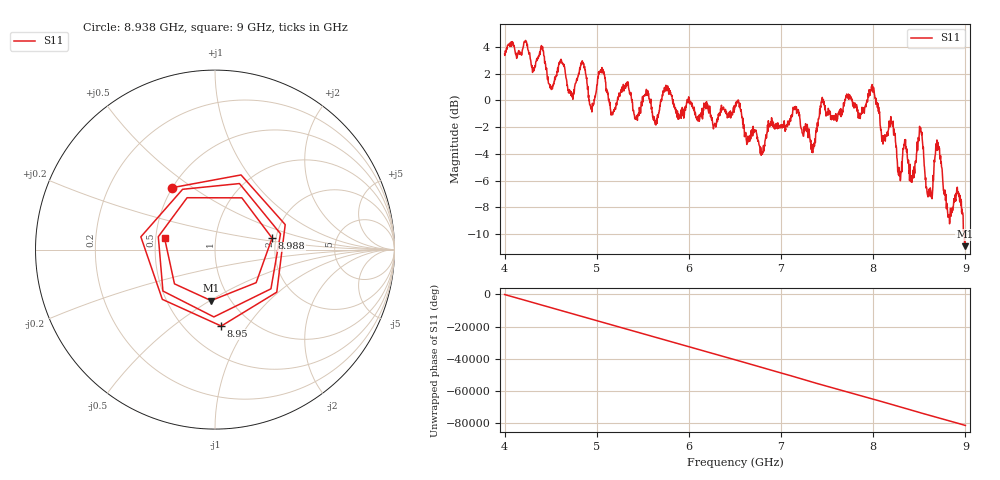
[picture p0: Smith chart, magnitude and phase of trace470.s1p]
! Created with skrf 1.8.0 (http://scikit-rf.org).
# Hz S RI R 50.0
!freq ReS11 ImS11
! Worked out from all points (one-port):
!   1601 points, 4 GHz to 9 GHz, reference 50 ohm
!   lowest |S11| = -10.9 dB at 8.994 GHz (marker M1), VSWR 1.80, Z = 40.8 - j25.3 ohm
!   |S11| at or under -10 dB: 8.988782 GHz to end of sweep
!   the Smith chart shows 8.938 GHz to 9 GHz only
!   S11 on the Smith chart (normalised r, x): 8.938 GHz: 0.50, +0.42; 8.95 GHz: 0.73, -0.77; 8.988 GHz: 1.91, +0.27; 9 GHz: 0.56, +0.08
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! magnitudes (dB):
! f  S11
! 4 GHz  3.4
! 4.503 GHz  0.9
! 4.625 GHz  2.8
! 4.731 GHz  0.3
! 4.85 GHz  2.8
! 4.944 GHz  -0.5
! 5.044 GHz  2.1
! 5.162 GHz  -0.9
! 5.25 GHz  0.3
! 5.875 GHz  -0.8
! 6.5 GHz  -0.4
! 6.791 GHz  -4.0
! 7.125 GHz  -0.9
! 7.347 GHz  -3.4
! 7.444 GHz  -0.2
! 7.75 GHz  0.1
! 7.994 GHz  1.0
! 8.281 GHz  -5.3
! 8.375 GHz  -4.5
! 8.512 GHz  -2.1
! 8.597 GHz  -6.9
! 8.697 GHz  -3.7
! 8.819 GHz  -8.6
! 8.938 GHz  -7.5
! 8.95 GHz  -7.4
! 8.988 GHz  -9.8
! 8.994 GHz  -10.9
! 9 GHz  -10.8
